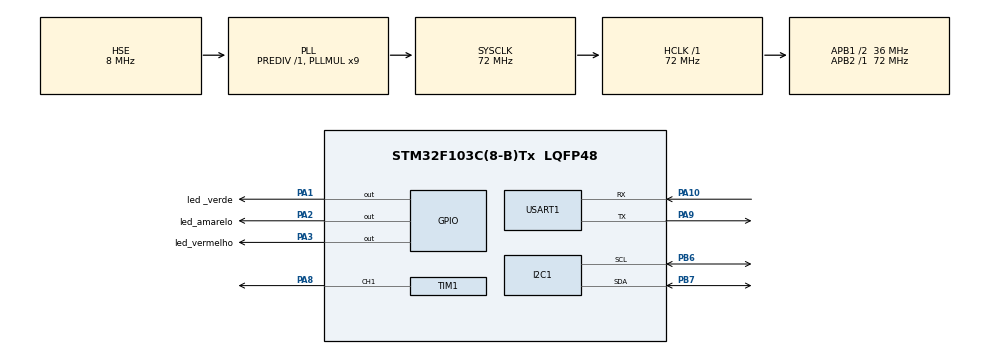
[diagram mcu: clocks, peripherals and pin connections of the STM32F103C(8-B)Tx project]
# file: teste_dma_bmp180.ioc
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Dma.I2C1_RX.0.Direction=DMA_PERIPH_TO_MEMORY
Dma.I2C1_RX.0.Instance=DMA1_Channel7
Dma.I2C1_RX.0.MemDataAlignment=DMA_MDATAALIGN_BYTE
Dma.I2C1_RX.0.MemInc=DMA_MINC_ENABLE
Dma.I2C1_RX.0.Mode=DMA_NORMAL
Dma.I2C1_RX.0.PeriphDataAlignment=DMA_PDATAALIGN_BYTE
Dma.I2C1_RX.0.PeriphInc=DMA_PINC_DISABLE
Dma.I2C1_RX.0.Priority=DMA_PRIORITY_LOW
Dma.I2C1_TX.1.Direction=DMA_MEMORY_TO_PERIPH
Dma.I2C1_TX.1.Instance=DMA1_Channel6
Dma.I2C1_TX.1.MemDataAlignment=DMA_MDATAALIGN_BYTE
Dma.I2C1_TX.1.MemInc=DMA_MINC_ENABLE
Dma.I2C1_TX.1.Mode=DMA_NORMAL
Dma.I2C1_TX.1.PeriphDataAlignment=DMA_PDATAALIGN_BYTE
Dma.I2C1_TX.1.PeriphInc=DMA_PINC_DISABLE
Dma.I2C1_TX.1.Priority=DMA_PRIORITY_LOW
Dma.Request0=I2C1_RX
Dma.Request1=I2C1_TX
Mcu.Family=STM32F1
Mcu.Name=STM32F103C(8-B)Tx
Mcu.Package=LQFP48
NVIC.DMA1_Channel6_IRQn=true\:0\:0\:false\:false\:true\:false\:true\:true
NVIC.DMA1_Channel7_IRQn=true\:0\:0\:false\:false\:true\:false\:true\:true
NVIC.I2C1_ER_IRQn=true\:0\:0\:false\:false\:true\:true\:true\:true
NVIC.I2C1_EV_IRQn=true\:0\:0\:false\:false\:true\:true\:true\:true
NVIC.PriorityGroup=NVIC_PRIORITYGROUP_4
PA1.GPIO_Label=led _verde
PA1.Signal=GPIO_Output
PA10.Mode=Asynchronous
PA10.Signal=USART1_RX
PA13.Mode=Serial_Wire
PA13.Signal=SYS_JTMS-SWDIO
PA14.Mode=Serial_Wire
PA14.Signal=SYS_JTCK-SWCLK
PA2.GPIO_Label=led_amarelo 
PA2.Signal=GPIO_Output
PA3.GPIO_Label=led_vermelho
PA3.Signal=GPIO_Output
PA8.Signal=S_TIM1_CH1
PA9.Mode=Asynchronous
PA9.Signal=USART1_TX
PB6.Mode=I2C
PB6.Signal=I2C1_SCL
PB7.Mode=I2C
PB7.Signal=I2C1_SDA
PD0-OSC_IN.Mode=HSE-External-Oscillator
PD0-OSC_IN.Signal=RCC_OSC_IN
PD1-OSC_OUT.Mode=HSE-External-Oscillator
PD1-OSC_OUT.Signal=RCC_OSC_OUT
ProjectManager.HeapSize=0x200
ProjectManager.StackSize=0x400
ProjectManager.TargetToolchain=CMake
RCC.AHBFreq_Value=72000000
RCC.APB1CLKDivider=RCC_HCLK_DIV2
RCC.APB1Freq_Value=36000000
RCC.APB1TimFreq_Value=72000000
RCC.APB2Freq_Value=72000000
RCC.APB2TimFreq_Value=72000000
RCC.HCLKFreq_Value=72000000
RCC.PLLMUL=RCC_PLL_MUL9
RCC.PLLSourceVirtual=RCC_PLLSOURCE_HSE
RCC.SYSCLKFreq_VALUE=72000000
RCC.SYSCLKSource=RCC_SYSCLKSOURCE_PLLCLK
RCC.USBFreq_Value=72000000
SH.S_TIM1_CH1.0=TIM1_CH1,PWM Generation1 CH1
TIM1.Channel-PWM\ Generation1\ CH1=TIM_CHANNEL_1
TIM1.Period=1000-1
TIM1.Prescaler=72-1
USART1.VirtualMode=VM_ASYNC
board=custom

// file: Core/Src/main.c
/* USER CODE BEGIN Header */
/**
  ******************************************************************************
  * @file           : main.c
  * @brief          : Programa principal
  *
  * Esse código lê temperatura do sensor BMP180 via I2C (usando DMA),
  * aplica uma máquina de estados baseada na temperatura e controla:
  *  - PWM (velocidade de um cooler, por exemplo)
  *  - LEDs indicadores de estado
  *  - Envia dados via UART
  *
  ******************************************************************************
  */
/* USER CODE END Header */

#include "main.h"
#include "dma.h"
#include "i2c.h"
#include "tim.h"
#include "usart.h"
#include "gpio.h"

/* USER CODE BEGIN Includes */
#include "bmp180.h"   // Driver do sensor BMP180
#include <stdio.h>    // Para printf / snprintf
#include <string.h>   // Manipulação de strings
/* USER CODE END Includes */

/* USER CODE BEGIN PV */

/**
 * Máquina de estados baseada na temperatura
 */
typedef enum {
    ESTADO_MINIMO = 0,   // Temperatura baixa → PWM desligado
    ESTADO_MEDIO,        // Temperatura média → PWM intermediário
    ESTADO_RAPIDO        // Temperatura alta → PWM máximo
} EstadoTemperatura;

EstadoTemperatura estado_atual = ESTADO_MINIMO;   // Estado atual
EstadoTemperatura proximo_estado = ESTADO_MINIMO; // Próximo estado

BMP180_HandleTypedef bmp;  // Estrutura do sensor BMP180
float temperatura;         // Variável para armazenar temperatura lida

char msg[50];              // Buffer para mensagem UART

volatile uint8_t bmp_ready = 0; // Flag de controle (não usada aqui diretamente)

/* USER CODE END PV */

/* USER CODE BEGIN 0 */
void SystemClock_Config(void);
/**
 * Redireciona printf para UART1
 * Assim você pode usar printf() normalmente
 */
int _write(int file, char *ptr, int len)
{
    HAL_UART_Transmit(&huart1, (uint8_t*)ptr, len, HAL_MAX_DELAY);
    return len;
}

/* USER CODE END 0 */

/**
  * @brief  Função principal
  */
int main(void)
{
  /* Inicialização básica da HAL */
  HAL_Init();

  /* Configuração do clock */
  SystemClock_Config();

  /* Inicialização dos periféricos */
  MX_GPIO_Init();        // GPIO (LEDs etc.)
  MX_DMA_Init();         // DMA
  MX_I2C1_Init();        // I2C (BMP180)
  MX_USART1_UART_Init(); // UART
  MX_TIM1_Init();        // Timer (PWM)

  /* USER CODE BEGIN 2 */

  // Inicializa o sensor BMP180
  BMP180_Init(&bmp, &hi2c1);

  // Inicia PWM no canal 1 do TIM1
  HAL_TIM_PWM_Start(&htim1, TIM_CHANNEL_1);

  // Habilita saída PWM (necessário para TIM1 - advanced timer)
  __HAL_TIM_MOE_ENABLE(&htim1);

  /* USER CODE END 2 */

  /* Loop infinito */
  while (1)
  {
    // --- Leitura da temperatura via DMA ---
    if (BMP180_ReadTemperature_DMA(&bmp, &temperatura) == HAL_OK)
    {
        /**
         * TRANSIÇÃO DE ESTADO
         * Define o próximo estado baseado na temperatura
         */
        if (temperatura < 26.0)
        {
            proximo_estado = ESTADO_MINIMO;
        }
        else if (temperatura < 29.0)
        {
            proximo_estado = ESTADO_MEDIO;
        }
        else
        {
            proximo_estado = ESTADO_RAPIDO;
        }

        // Atualiza estado atual
        estado_atual = proximo_estado;

        uint32_t pwm_atual = 0; // Duty cycle atual

        /**
         * AÇÕES DE CADA ESTADO
         */
        switch (estado_atual)
        {
            case ESTADO_MINIMO:
                pwm_atual = 0; // PWM desligado

                // LED verde ON
                HAL_GPIO_WritePin(GPIOA, GPIO_PIN_1, GPIO_PIN_SET);
                HAL_GPIO_WritePin(GPIOA, GPIO_PIN_2, GPIO_PIN_RESET);
                HAL_GPIO_WritePin(GPIOA, GPIO_PIN_3, GPIO_PIN_RESET);
                break;

            case ESTADO_MEDIO:
                pwm_atual = 500; // ~50% duty cycle

                // LED amarelo ON
                HAL_GPIO_WritePin(GPIOA, GPIO_PIN_1, GPIO_PIN_RESET);
                HAL_GPIO_WritePin(GPIOA, GPIO_PIN_2, GPIO_PIN_SET);
                HAL_GPIO_WritePin(GPIOA, GPIO_PIN_3, GPIO_PIN_RESET);
                break;

            case ESTADO_RAPIDO:
                pwm_atual = 999; // ~100% duty cycle

                // LED vermelho ON
                HAL_GPIO_WritePin(GPIOA, GPIO_PIN_1, GPIO_PIN_RESET);
                HAL_GPIO_WritePin(GPIOA, GPIO_PIN_2, GPIO_PIN_RESET);
                HAL_GPIO_WritePin(GPIOA, GPIO_PIN_3, GPIO_PIN_SET);
                break;
        }

        // Atualiza valor do PWM no timer
        __HAL_TIM_SET_COMPARE(&htim1, TIM_CHANNEL_1, pwm_atual);

        /**
         * FORMATAÇÃO DA TEMPERATURA
         * Separa parte inteira e decimal
         */
        int32_t p_int = (int32_t)temperatura;
        int32_t p_dec = (int32_t)((temperatura - p_int) * 100);

        if (p_dec < 0) p_dec *= -1; // Corrige decimal negativo

        /**
         * Monta string para envio via UART
         */
        int len = snprintf(msg, sizeof(msg),
                          "Temp: %ld.%02ld C | PWM: %lu\r\n",
                          p_int, p_dec, pwm_atual);

        // Envia mensagem via UART
        HAL_UART_Transmit(&huart1, (uint8_t*)msg, len, HAL_MAX_DELAY);
    }

    // Delay entre leituras
    HAL_Delay(500);
  }
}

void SystemClock_Config(void)
{
  RCC_OscInitTypeDef RCC_OscInitStruct = {0};
  RCC_ClkInitTypeDef RCC_ClkInitStruct = {0};

  /** Initializes the RCC Oscillators according to the specified parameters
  * in the RCC_OscInitTypeDef structure.
  */
  RCC_OscInitStruct.OscillatorType = RCC_OSCILLATORTYPE_HSE;
  RCC_OscInitStruct.HSEState = RCC_HSE_ON;
  RCC_OscInitStruct.HSEPredivValue = RCC_HSE_PREDIV_DIV1;
  RCC_OscInitStruct.HSIState = RCC_HSI_ON;
  RCC_OscInitStruct.PLL.PLLState = RCC_PLL_ON;
  RCC_OscInitStruct.PLL.PLLSource = RCC_PLLSOURCE_HSE;
  RCC_OscInitStruct.PLL.PLLMUL = RCC_PLL_MUL9;
  if (HAL_RCC_OscConfig(&RCC_OscInitStruct) != HAL_OK)
  {
    Error_Handler();
  }

  /** Initializes the CPU, AHB and APB buses clocks
  */
  RCC_ClkInitStruct.ClockType = RCC_CLOCKTYPE_HCLK|RCC_CLOCKTYPE_SYSCLK
                              |RCC_CLOCKTYPE_PCLK1|RCC_CLOCKTYPE_PCLK2;
  RCC_ClkInitStruct.SYSCLKSource = RCC_SYSCLKSOURCE_PLLCLK;
  RCC_ClkInitStruct.AHBCLKDivider = RCC_SYSCLK_DIV1;
  RCC_ClkInitStruct.APB1CLKDivider = RCC_HCLK_DIV2;
  RCC_ClkInitStruct.APB2CLKDivider = RCC_HCLK_DIV1;

  if (HAL_RCC_ClockConfig(&RCC_ClkInitStruct, FLASH_LATENCY_2) != HAL_OK)
  {
    Error_Handler();
  }
}

void Error_Handler(void)
{
  __disable_irq();
  while (1)
  {
  }
}
